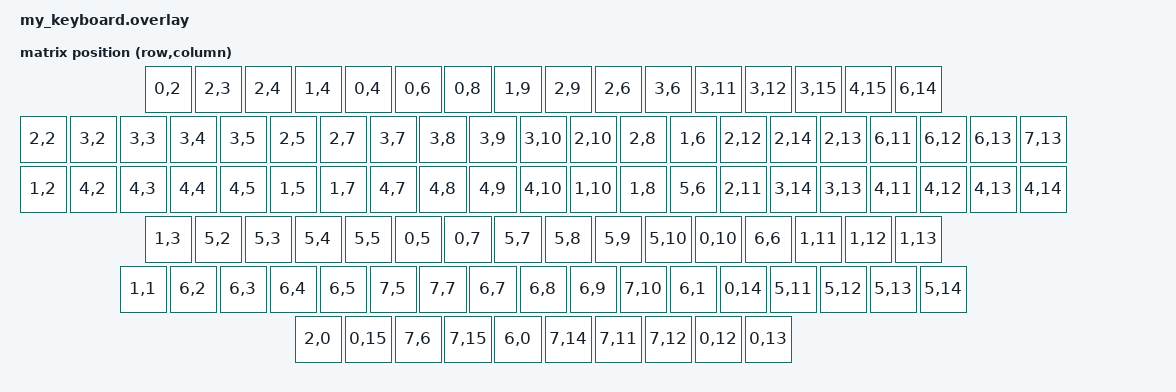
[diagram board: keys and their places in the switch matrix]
#include <dt-bindings/zmk/matrix_transform.h>

/ {
    chosen {
        zmk,kscan = &adb_kscan;
        zmk,physical-layout = &physical_layout0;
    };

    adb_kscan: adb_kscan_0 {
        compatible = "custom,adb-gpio";
        gpios = <&gpio0 10 (GPIO_PULL_UP | GPIO_ACTIVE_LOW)>; // Adjust this line
        debounce-period-ms = <5>;

        status = "okay";
    };


    physical_layout0: physical_layout_0 {
        compatible = "zmk,physical-layout";
        display-name = "Default Layout";
        transform = <&default_transform>;
    };

    default_transform: keymap_transform_0 {
        compatible = "zmk,matrix-transform";
        rows = <8>;
        columns = <16>;
        
        //  -------------------------------------------------------------------------------------------------------------------------
        //  | ESC   |       | F1    | F2    | F3    | F4    |   | F5    | F6    | F7    | F8    |   | F9    | F10   | F11   | F12   |       |PRT SCR| SLCK  |PAU_BRK|
        //  |  `    |  1    |  2    |  3    |  4    |  5    |  6    |  7    |  8    |  9    |  0    |  -    |  =    |   BKSP        |       |INSERT | HOME  |PAGE_UP|       |BL_NUM | KP /  | KP *  | KP -  |
        //  |    TAB    |  Q    |  W    |  E    |  R    |  T    |  Y    |  U    |  I    |  O    |  P    |   [   |   ]   |   "|\"    |       |DELETE |  END  |PAGE_DW|       | KP_N7 | KP_N8 | KP_N9 | KP +  |
        //  | CAPS        |   A   |   S   |   D   |   F   |   G   |   H   |   J   |   K   |   L   |   ;   |   '   |      ENTER      |                                       | KP_N4 | KP_N5 | KP_N6 |(KP +) |
        //  |   LSHIFT        |   Z   |   X   |   C   |   V   |   B   |   N   |   M   |   ,   |   .   |   /   |        RSHIFT       |               |  UP   |               | KP_N1 | KP_N2 | KP_N3 | KPENT |
        //  |   CTRL    |       |    ALT    |                        SPACE                          |   ALTGR   |       |   CTRL    |       | LEFT  | DOWN  | RIGHT |       |     KP_N0     | KP .  |(KPENT)|
        //  -------------------------------------------------------------------------------------------------------------------------
        map = <
        //  -------------------------------------------------------------------------------------------------------------------------
        //  | ESC   |       | F1    | F2    | F3    | F4    |   | F5    | F6    | F7    | F8    |   | F9    | F10   | F11   | F12   |       |PRT SCR| SLCK  |PAU_BRK|
            RC(0,2)         RC(2,3) RC(2,4) RC(1,4) RC(0,4)     RC(0,6) RC(0,8) RC(1,9) RC(2,9)     RC(2,6) RC(3,6) RC(3,11) RC(3,12)      RC(3,15) RC(4,15) RC(6,14)

        //  |  `    |  1    |  2    |  3    |  4    |  5    |  6    |  7    |  8    |  9    |  0    |  -    |  =    |   BKSP        |       |INSERT | HOME  |PAGE_UP|       |BL_NUM | KP /  | KP *  | KP -  |
            RC(2,2) RC(3,2) RC(3,3) RC(3,4) RC(3,5) RC(2,5) RC(2,7) RC(3,7) RC(3,8) RC(3,9) RC(3,10) RC(2,10) RC(2,8)   RC(1,6)            RC(2,12) RC(2,14) RC(2,13)      RC(6,11) RC(6,12) RC(6,13) RC(7,13) 

        //  |    TAB    |  Q    |  W    |  E    |  R    |  T    |  Y    |  U    |  I    |  O    |  P    |   [   |   ]   |   "|\"    |       |DELETE |  END  |PAGE_DW|       | KP_N7 | KP_N8 | KP_N9 | KP +  |
               RC(1,2)  RC(4,2) RC(4,3) RC(4,4) RC(4,5) RC(1,5) RC(1,7) RC(4,7) RC(4,8) RC(4,9) RC(4,10) RC(1,10) RC(1,8) RC(5,6)          RC(2,11) RC(3,14) RC(3,13)      RC(4,11) RC(4,12) RC(4,13) RC(4,14) 

        //  | CAPS        |   A   |   S   |   D   |   F   |   G   |   H   |   J   |   K   |   L   |   ;   |   '   |      ENTER      |                                       | KP_N4 | KP_N5 | KP_N6 |(KP +) |
            RC(1,3)       RC(5,2) RC(5,3) RC(5,4) RC(5,5) RC(0,5) RC(0,7) RC(5,7) RC(5,8) RC(5,9) RC(5,10) RC(0,10)     RC(6,6)                                            RC(1,11) RC(1,12) RC(1,13) 

        //  |   LSHIFT        |   Z   |   X   |   C   |   V   |   B   |   N   |   M   |   ,   |   .   |   /   |        RSHIFT       |               |  UP   |               | KP_N1 | KP_N2 | KP_N3 | KPENT |
            RC(1,1)           RC(6,2) RC(6,3) RC(6,4) RC(6,5) RC(7,5) RC(7,7) RC(6,7) RC(6,8) RC(6,9) RC(7,10)          RC(6,1)                     RC(0,14)               RC(5,11) RC(5,12) RC(5,13) RC(5,14) 

        //  |   CTRL    |       |    ALT    |                        SPACE                          |   ALTGR   |       |   CTRL    |       | LEFT  | DOWN  | RIGHT |       |     KP_N0     | KP .  |(KPENT)|
            RC(2,0)                RC(0,15)                         RC(7,6)                            RC(7,15)            RC(6,0)         RC(7,14) RC(7,11) RC(7,12)            RC(0,12)    RC(0,13) 
        //  -------------------------------------------------------------------------------------------------------------------------
        >;
    };
    
};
